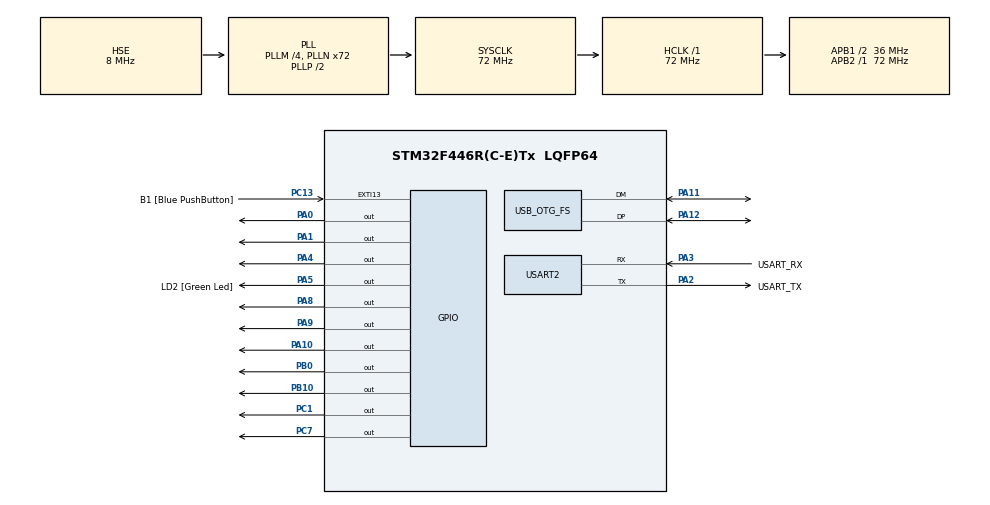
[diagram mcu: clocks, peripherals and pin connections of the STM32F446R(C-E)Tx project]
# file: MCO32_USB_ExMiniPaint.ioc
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Mcu.Family=STM32F4
Mcu.Name=STM32F446R(C-E)Tx
Mcu.Package=LQFP64
NVIC.OTG_FS_IRQn=true\:0\:0\:false\:false\:true\:false\:true\:true
NVIC.PriorityGroup=NVIC_PRIORITYGROUP_0
PA0-WKUP.Signal=GPIO_Output
PA1.Signal=GPIO_Output
PA10.Signal=GPIO_Output
PA11.Mode=Host_Only
PA11.Signal=USB_OTG_FS_DM
PA12.Mode=Host_Only
PA12.Signal=USB_OTG_FS_DP
PA13.GPIO_Label=TMS
PA13.Mode=Serial_Wire
PA13.Signal=SYS_JTMS-SWDIO
PA14.GPIO_Label=TCK
PA14.Mode=Serial_Wire
PA14.Signal=SYS_JTCK-SWCLK
PA2.GPIO_Label=USART_TX
PA2.Mode=Asynchronous
PA2.Signal=USART2_TX
PA3.GPIO_Label=USART_RX
PA3.Mode=Asynchronous
PA3.Signal=USART2_RX
PA4.Signal=GPIO_Output
PA5.GPIO_Label=LD2 [Green Led]
PA5.Signal=GPIO_Output
PA8.Signal=GPIO_Output
PA9.Signal=GPIO_Output
PB0.Signal=GPIO_Output
PB10.Signal=GPIO_Output
PB3.GPIO_Label=SWO
PB3.Signal=SYS_JTDO-SWO
PC1.Signal=GPIO_Output
PC13.GPIO_Label=B1 [Blue PushButton]
PC13.GPIO_ModeDefaultEXTI=GPIO_MODE_IT_FALLING
PC13.Signal=GPXTI13
PC14-OSC32_IN.Mode=LSE-External-Oscillator
PC14-OSC32_IN.Signal=RCC_OSC32_IN
PC15-OSC32_OUT.Mode=LSE-External-Oscillator
PC15-OSC32_OUT.Signal=RCC_OSC32_OUT
PC7.Signal=GPIO_Output
PH0-OSC_IN.Mode=HSE-External-Oscillator
PH0-OSC_IN.Signal=RCC_OSC_IN
PH1-OSC_OUT.Mode=HSE-External-Oscillator
PH1-OSC_OUT.Signal=RCC_OSC_OUT
ProjectManager.HeapSize=0x200
ProjectManager.StackSize=0x400
ProjectManager.TargetToolchain=STM32CubeIDE
RCC.48MHZClocksFreq_Value=84000000
RCC.AHBFreq_Value=72000000
RCC.APB1CLKDivider=RCC_HCLK_DIV2
RCC.APB1Freq_Value=36000000
RCC.APB1TimFreq_Value=72000000
RCC.APB2Freq_Value=72000000
RCC.APB2TimFreq_Value=72000000
RCC.CortexFreq_Value=72000000
RCC.FLatency-AdvancedSettings=FLASH_LATENCY_2
RCC.HCLKFreq_Value=72000000
RCC.HSE_VALUE=8000000
RCC.HSI_VALUE=16000000
RCC.PLLM=4
RCC.PLLN=72
RCC.PLLQ=3
RCC.SYSCLKFreq_VALUE=72000000
RCC.SYSCLKSource=RCC_SYSCLKSOURCE_PLLCLK
RCC.USBFreq_Value=48000000
RCC.VCOOutputFreq_Value=144000000
TIM1.AutoReloadPreload=TIM_AUTORELOAD_PRELOAD_ENABLE
TIM1.Period=0xFFFF-1
TIM1.Prescaler=84-1
USART2.VirtualMode=VM_ASYNC
USB_HOST.USBH_HandleTypeDef-HID_FS=hUsbHostFS
USB_HOST.VirtualModeFS=Hid
USB_OTG_FS.VirtualMode=Host_Only
USB_OTG_FS.phy_itface=HCD_PHY_EMBEDDED
VP_TIM1_VS_ClockSourceINT.Mode=Internal
VP_USB_HOST_VS_USB_HOST_HID_FS.Mode=HID_FS
board=NUCLEO-F446RE

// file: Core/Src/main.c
/* USER CODE BEGIN Header */
/**
  ******************************************************************************
  * @file           : main.c
  * @brief          : Main program body
  ******************************************************************************
  * @attention
  *
  * Copyright (c) 2022 STMicroelectronics.
  * All rights reserved.
  *
  * This software is licensed under terms that can be found in the LICENSE file
  * in the root directory of this software component.
  * If no LICENSE file comes with this software, it is provided AS-IS.
  *
  ******************************************************************************
  */
/* USER CODE END Header */
#include "main.h"
#include "usb_host.h"

/* USER CODE BEGIN Includes */
#include "fonts.h"
#include "tft.h"
#include "user_setting.h"
#include "functions.h"
#include <stdio.h>
#include "usbh_hid.h"
/* USER CODE END Includes */

TIM_HandleTypeDef htim1;

UART_HandleTypeDef huart2;

/* USER CODE BEGIN PV */
uint16_t ID = 0;
char Uart_buf[100];
int X_Val;
int Y_Val;
uint8_t flagButtons[3];
/* USER CODE END PV */

void SystemClock_Config(void);
static void MX_GPIO_Init(void);
static void MX_USART2_UART_Init(void);
static void MX_TIM1_Init(void);
void MX_USB_HOST_Process(void);

int main(void)
{

  /* MCU Configuration--------------------------------------------------------*/

  /* Reset of all peripherals, Initializes the Flash interface and the Systick. */
  HAL_Init();

  /* USER CODE BEGIN Init */
  //tft_gpio_init();
  /* USER CODE END Init */

  /* Configure the system clock */
  SystemClock_Config();

  /* Initialize all configured peripherals */
  MX_GPIO_Init();
  MX_USART2_UART_Init();
  MX_TIM1_Init();
  MX_USB_HOST_Init();
  /* USER CODE BEGIN 2 */
  /* Sequência de inicialização do LCD */
  tft_gpio_init(); //Inicializa os GPIOs do LCD (evita uso do CubeMX)
  HAL_TIM_Base_Start(&htim1); //Inicializa o Timer1 (base de tempo de us do LCD)
  ID = tft_readID(); //Lê o ID do LCD (poderia ser chamada pela inicialização do LCD)
  HAL_Delay(100);
  tft_init(ID); //Inicializa o LCD de acordo com seu ID
  setRotation(1); //Ajusta a orientação da tela (paisagem)
  fillScreen(BLACK); //Preenche a tela em uma só cor

  int16_t xTela = 160, yTela = 120;
  uint16_t colors[] = {WHITE, BLUE, RED, GREEN, CYAN, MAGENTA, YELLOW};

  uint8_t c = 0;
  /* USER CODE END 2 */

  /* Infinite loop */
  /* USER CODE BEGIN WHILE */
  while (1)
  {
	  /* Movimentação */

	  if(!flagButtons[0])
	  {
		  fillRect(xTela, yTela, 5, 5, BLACK); //Apaga cursor
	  }
	  else
	  {
		  flagButtons[0] = 0;
	  }

	  xTela += X_Val; //Incrementa coordenada em X
	  yTela += Y_Val; //Incrementa coordenada em Y
	  X_Val = 0; //Zera valor
	  Y_Val = 0; //Zera valor

	  /* Evita sair da tela */
	  if(xTela > 319)
		  xTela = 319;
	  else if (xTela < 0)
		  xTela = 0;
	  if(yTela > 239)
		  yTela = 239;
	  else if (yTela < 0)
		  yTela = 0;

	  fillRect(xTela, yTela, 5, 5, colors[c]); //Desenha cursor

	  /* Limpar tela */
	  if(flagButtons[2]) //Se o botão de scroll for pressionado
	  {
		  fillScreen(BLACK); //Preenche com preto
		  flagButtons[2] = 0;
	  }

	  /* Trocar cor */
	  if(flagButtons[1]) //Se o botão direito for pressionado
	  {
		  c++; //Passa para próxima cor
		  if(c > 6) c = 0; //Se chegou no fim da lista volta para o começo
		  flagButtons[1] = 0;
	  }

    /* USER CODE END WHILE */
    MX_USB_HOST_Process();

  }
}

void SystemClock_Config(void)
{
  RCC_OscInitTypeDef RCC_OscInitStruct = {0};
  RCC_ClkInitTypeDef RCC_ClkInitStruct = {0};

  /** Configure the main internal regulator output voltage
  */
  __HAL_RCC_PWR_CLK_ENABLE();
  __HAL_PWR_VOLTAGESCALING_CONFIG(PWR_REGULATOR_VOLTAGE_SCALE3);

  /** Initializes the RCC Oscillators according to the specified parameters
  * in the RCC_OscInitTypeDef structure.
  */
  RCC_OscInitStruct.OscillatorType = RCC_OSCILLATORTYPE_HSE;
  RCC_OscInitStruct.HSEState = RCC_HSE_ON;
  RCC_OscInitStruct.PLL.PLLState = RCC_PLL_ON;
  RCC_OscInitStruct.PLL.PLLSource = RCC_PLLSOURCE_HSE;
  RCC_OscInitStruct.PLL.PLLM = 4;
  RCC_OscInitStruct.PLL.PLLN = 72;
  RCC_OscInitStruct.PLL.PLLP = RCC_PLLP_DIV2;
  RCC_OscInitStruct.PLL.PLLQ = 3;
  RCC_OscInitStruct.PLL.PLLR = 2;
  if (HAL_RCC_OscConfig(&RCC_OscInitStruct) != HAL_OK)
  {
    Error_Handler();
  }

  /** Initializes the CPU, AHB and APB buses clocks
  */
  RCC_ClkInitStruct.ClockType = RCC_CLOCKTYPE_HCLK|RCC_CLOCKTYPE_SYSCLK
                              |RCC_CLOCKTYPE_PCLK1|RCC_CLOCKTYPE_PCLK2;
  RCC_ClkInitStruct.SYSCLKSource = RCC_SYSCLKSOURCE_PLLCLK;
  RCC_ClkInitStruct.AHBCLKDivider = RCC_SYSCLK_DIV1;
  RCC_ClkInitStruct.APB1CLKDivider = RCC_HCLK_DIV2;
  RCC_ClkInitStruct.APB2CLKDivider = RCC_HCLK_DIV1;

  if (HAL_RCC_ClockConfig(&RCC_ClkInitStruct, FLASH_LATENCY_2) != HAL_OK)
  {
    Error_Handler();
  }
}

static void MX_TIM1_Init(void)
{

  TIM_ClockConfigTypeDef sClockSourceConfig = {0};
  TIM_MasterConfigTypeDef sMasterConfig = {0};

  htim1.Instance = TIM1;
  htim1.Init.Prescaler = 84-1;
  htim1.Init.CounterMode = TIM_COUNTERMODE_UP;
  htim1.Init.Period = 0xFFFF-1;
  htim1.Init.ClockDivision = TIM_CLOCKDIVISION_DIV1;
  htim1.Init.RepetitionCounter = 0;
  htim1.Init.AutoReloadPreload = TIM_AUTORELOAD_PRELOAD_ENABLE;
  if (HAL_TIM_Base_Init(&htim1) != HAL_OK)
  {
    Error_Handler();
  }
  sClockSourceConfig.ClockSource = TIM_CLOCKSOURCE_INTERNAL;
  if (HAL_TIM_ConfigClockSource(&htim1, &sClockSourceConfig) != HAL_OK)
  {
    Error_Handler();
  }
  sMasterConfig.MasterOutputTrigger = TIM_TRGO_RESET;
  sMasterConfig.MasterSlaveMode = TIM_MASTERSLAVEMODE_DISABLE;
  if (HAL_TIMEx_MasterConfigSynchronization(&htim1, &sMasterConfig) != HAL_OK)
  {
    Error_Handler();
  }

}

static void MX_USART2_UART_Init(void)
{

  huart2.Instance = USART2;
  huart2.Init.BaudRate = 115200;
  huart2.Init.WordLength = UART_WORDLENGTH_8B;
  huart2.Init.StopBits = UART_STOPBITS_1;
  huart2.Init.Parity = UART_PARITY_NONE;
  huart2.Init.Mode = UART_MODE_TX_RX;
  huart2.Init.HwFlowCtl = UART_HWCONTROL_NONE;
  huart2.Init.OverSampling = UART_OVERSAMPLING_16;
  if (HAL_UART_Init(&huart2) != HAL_OK)
  {
    Error_Handler();
  }

}

static void MX_GPIO_Init(void)
{
  GPIO_InitTypeDef GPIO_InitStruct = {0};

  /* GPIO Ports Clock Enable */
  __HAL_RCC_GPIOC_CLK_ENABLE();
  __HAL_RCC_GPIOH_CLK_ENABLE();
  __HAL_RCC_GPIOA_CLK_ENABLE();
  __HAL_RCC_GPIOB_CLK_ENABLE();

  /*Configure GPIO pin Output Level */
  HAL_GPIO_WritePin(GPIOC, GPIO_PIN_1|GPIO_PIN_7, GPIO_PIN_RESET);

  /*Configure GPIO pin Output Level */
  HAL_GPIO_WritePin(GPIOA, GPIO_PIN_0|GPIO_PIN_1|GPIO_PIN_4|LD2_Pin
                          |GPIO_PIN_8|GPIO_PIN_9|GPIO_PIN_10, GPIO_PIN_RESET);

  /*Configure GPIO pin Output Level */
  HAL_GPIO_WritePin(GPIOB, GPIO_PIN_0|GPIO_PIN_10, GPIO_PIN_RESET);

  /*Configure GPIO pin : B1_Pin */
  GPIO_InitStruct.Pin = B1_Pin;
  GPIO_InitStruct.Mode = GPIO_MODE_IT_FALLING;
  GPIO_InitStruct.Pull = GPIO_NOPULL;
  HAL_GPIO_Init(B1_GPIO_Port, &GPIO_InitStruct);

  /*Configure GPIO pins : PC1 PC7 */
  GPIO_InitStruct.Pin = GPIO_PIN_1|GPIO_PIN_7;
  GPIO_InitStruct.Mode = GPIO_MODE_OUTPUT_PP;
  GPIO_InitStruct.Pull = GPIO_NOPULL;
  GPIO_InitStruct.Speed = GPIO_SPEED_FREQ_LOW;
  HAL_GPIO_Init(GPIOC, &GPIO_InitStruct);

  /*Configure GPIO pins : PA0 PA1 PA4 LD2_Pin
                           PA8 PA9 PA10 */
  GPIO_InitStruct.Pin = GPIO_PIN_0|GPIO_PIN_1|GPIO_PIN_4|LD2_Pin
                          |GPIO_PIN_8|GPIO_PIN_9|GPIO_PIN_10;
  GPIO_InitStruct.Mode = GPIO_MODE_OUTPUT_PP;
  GPIO_InitStruct.Pull = GPIO_NOPULL;
  GPIO_InitStruct.Speed = GPIO_SPEED_FREQ_LOW;
  HAL_GPIO_Init(GPIOA, &GPIO_InitStruct);

  /*Configure GPIO pins : PB0 PB10 */
  GPIO_InitStruct.Pin = GPIO_PIN_0|GPIO_PIN_10;
  GPIO_InitStruct.Mode = GPIO_MODE_OUTPUT_PP;
  GPIO_InitStruct.Pull = GPIO_NOPULL;
  GPIO_InitStruct.Speed = GPIO_SPEED_FREQ_LOW;
  HAL_GPIO_Init(GPIOB, &GPIO_InitStruct);

}

/* USER CODE BEGIN 4 */

void USBH_HID_EventCallback(USBH_HandleTypeDef *phost)
{
	if(USBH_HID_GetDeviceType(phost) == HID_MOUSE)
	{
		HID_MOUSE_Info_TypeDef *Mouse_Info;
		Mouse_Info = USBH_HID_GetMouseInfo(phost);

		/* Posicionamento */
		X_Val = Mouse_Info->x;
		Y_Val = Mouse_Info->y;
		if(X_Val > 127) X_Val -= 255;
		if(Y_Val > 127) Y_Val -= 255;

		/* Botões */
		if(Mouse_Info->buttons[0])
			flagButtons[0] = 1;
		if(Mouse_Info->buttons[1])
			flagButtons[1] = 1;
		if(Mouse_Info->buttons[2])
			flagButtons[2] = 1;

		/* Debug pela serial */
		int len = sprintf(Uart_buf, "X=%d, Y=%d, Button1=%d, Button2=%d, Button3=%d\r\n", X_Val, Y_Val, \
				Mouse_Info->buttons[0], Mouse_Info->buttons[1], Mouse_Info->buttons[2]);
		HAL_UART_Transmit(&huart2, (uint8_t *)Uart_buf, len, 1000);
	}
	else if(USBH_HID_GetDeviceType(phost) == HID_KEYBOARD)
	{
		HID_KEYBD_Info_TypeDef *Keyboard_Info;
		Keyboard_Info = USBH_HID_GetKeybdInfo(phost);
		char key = USBH_HID_GetASCIICode(Keyboard_Info);
		int len = sprintf(Uart_buf, "Keybord pressed = %c\r\n", key);
		HAL_UART_Transmit(&huart2, (uint8_t *)Uart_buf, len, 1000);
	}
}

/* USER CODE END 4 */

void Error_Handler(void)
{
  __disable_irq();
  while (1)
  {
  }
}
